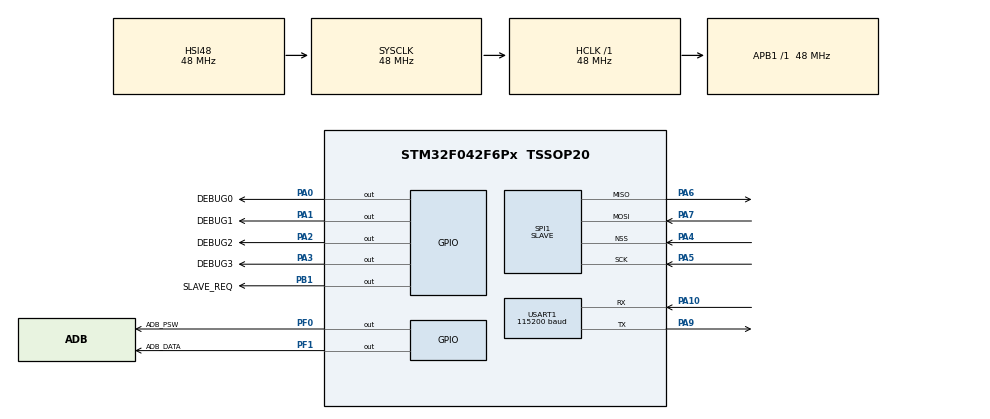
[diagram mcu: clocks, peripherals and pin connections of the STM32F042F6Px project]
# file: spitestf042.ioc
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Mcu.Family=STM32F0
Mcu.Name=STM32F042F6Px
Mcu.Package=TSSOP20
NVIC.SPI1_IRQn=true\:0\:0\:false\:false\:true\:true
PA0.GPIO_Label=DEBUG0
PA0.Signal=GPIO_Output
PA1.GPIO_Label=DEBUG1
PA1.Signal=GPIO_Output
PA10.Mode=Asynchronous
PA10.Signal=USART1_RX
PA13.Mode=Serial_Wire
PA13.Signal=SYS_SWDIO
PA14.Mode=Serial_Wire
PA14.Signal=SYS_SWCLK
PA2.GPIO_Label=DEBUG2
PA2.Signal=GPIO_Output
PA3.GPIO_Label=DEBUG3
PA3.Signal=GPIO_Output
PA4.Mode=NSS_Signal_Hard_Input
PA4.Signal=SPI1_NSS
PA5.Mode=Full_Duplex_Slave
PA5.Signal=SPI1_SCK
PA6.Mode=Full_Duplex_Slave
PA6.Signal=SPI1_MISO
PA7.Mode=Full_Duplex_Slave
PA7.Signal=SPI1_MOSI
PA9.Mode=Asynchronous
PA9.Signal=USART1_TX
PB1.GPIO_Label=SLAVE_REQ
PB1.Signal=GPIO_Output
PF0-OSC_IN.GPIO_Label=ADB_PSW
PF0-OSC_IN.GPIO_ModeDefaultOutputPP=GPIO_MODE_OUTPUT_OD
PF0-OSC_IN.PinState=GPIO_PIN_SET
PF0-OSC_IN.Signal=GPIO_Output
PF1-OSC_OUT.GPIO_Label=ADB_DATA
PF1-OSC_OUT.GPIO_ModeDefaultOutputPP=GPIO_MODE_OUTPUT_OD
PF1-OSC_OUT.PinState=GPIO_PIN_SET
PF1-OSC_OUT.Signal=GPIO_Output
ProjectManager.HeapSize=0x200
ProjectManager.StackSize=0x400
ProjectManager.TargetToolchain=MDK-ARM V5
RCC.AHBFreq_Value=48000000
RCC.APB1Freq_Value=48000000
RCC.APB1TimFreq_Value=48000000
RCC.HCLKFreq_Value=48000000
RCC.SYSCLKFreq_VALUE=48000000
RCC.SYSCLKSource=RCC_SYSCLKSOURCE_HSI48
SPI1.DataSize=SPI_DATASIZE_8BIT
SPI1.Direction=SPI_DIRECTION_2LINES
SPI1.Mode=SPI_MODE_SLAVE
SPI1.VirtualNSS=VM_NSSHARD
SPI1.VirtualType=VM_SLAVE
TIM2.Period=4294967295
TIM2.Prescaler=47
USART1.BaudRate=115200
USART1.VirtualMode=VM_ASYNC
VP_TIM2_VS_ClockSourceINT.Mode=Internal
board=custom

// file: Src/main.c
/**
  ******************************************************************************
  * @file           : main.c
  * @brief          : Main program body
  ******************************************************************************
  ** This notice applies to any and all portions of this file
  * that are not between comment pairs USER CODE BEGIN and
  * USER CODE END. Other portions of this file, whether
  * inserted by the user or by software development tools
  * are owned by their respective copyright owners.
  *
  * COPYRIGHT(c) 2021 STMicroelectronics
  *
  * Redistribution and use in source and binary forms, with or without modification,
  * are permitted provided that the following conditions are met:
  *   1. Redistributions of source code must retain the above copyright notice,
  *      this list of conditions and the following disclaimer.
  *   2. Redistributions in binary form must reproduce the above copyright notice,
  *      this list of conditions and the following disclaimer in the documentation
  *      and/or other materials provided with the distribution.
  *   3. Neither the name of STMicroelectronics nor the names of its contributors
  *      may be used to endorse or promote products derived from this software
  *      without specific prior written permission.
  *
  * THIS SOFTWARE IS PROVIDED BY THE COPYRIGHT HOLDERS AND CONTRIBUTORS "AS IS"
  * AND ANY EXPRESS OR IMPLIED WARRANTIES, INCLUDING, BUT NOT LIMITED TO, THE
  * IMPLIED WARRANTIES OF MERCHANTABILITY AND FITNESS FOR A PARTICULAR PURPOSE ARE
  * DISCLAIMED. IN NO EVENT SHALL THE COPYRIGHT HOLDER OR CONTRIBUTORS BE LIABLE
  * FOR ANY DIRECT, INDIRECT, INCIDENTAL, SPECIAL, EXEMPLARY, OR CONSEQUENTIAL
  * DAMAGES (INCLUDING, BUT NOT LIMITED TO, PROCUREMENT OF SUBSTITUTE GOODS OR
  * SERVICES; LOSS OF USE, DATA, OR PROFITS; OR BUSINESS INTERRUPTION) HOWEVER
  * CAUSED AND ON ANY THEORY OF LIABILITY, WHETHER IN CONTRACT, STRICT LIABILITY,
  * OR TORT (INCLUDING NEGLIGENCE OR OTHERWISE) ARISING IN ANY WAY OUT OF THE USE
  * OF THIS SOFTWARE, EVEN IF ADVISED OF THE POSSIBILITY OF SUCH DAMAGE.
  *
  ******************************************************************************
  */
#include "main.h"
#include "stm32f0xx_hal.h"

/* USER CODE BEGIN Includes */
#include <string.h>
#include <stdlib.h>
#include "delay_us.h"
#include "shared.h"
#include "helpers.h"
#include "adb.h"

/* USER CODE END Includes */

SPI_HandleTypeDef hspi1;

TIM_HandleTypeDef htim2;

UART_HandleTypeDef huart1;

/* USER CODE BEGIN PV */
/* Private variables ---------------------------------------------------------*/
uint8_t spi_transmit_buf[SPI_BUF_SIZE];
uint8_t backup_spi1_recv_buf[SPI_BUF_SIZE];
uint8_t spi_recv_buf[SPI_BUF_SIZE];
/* USER CODE END PV */

void SystemClock_Config(void);
static void MX_GPIO_Init(void);
static void MX_USART1_UART_Init(void);
static void MX_SPI1_Init(void);
static void MX_TIM2_Init(void);

/* USER CODE BEGIN PFP */
/* Private function prototypes -----------------------------------------------*/

/* USER CODE END PFP */

/* USER CODE BEGIN 0 */
int fputc(int ch, FILE *f)
{
    HAL_UART_Transmit(&huart1, (unsigned char *)&ch, 1, 100);
    return ch;
}

int16_t byte_to_int16_t(uint8_t lsb, uint8_t msb)
{
  return (int16_t)((msb << 8) | lsb);
}

/*
  This is called when a new SPI packet is received
  This is part of an ISR, so keep it short!
*/
void HAL_SPI_TxRxCpltCallback(SPI_HandleTypeDef *hspi)
{
  // memcpy(backup_spi1_recv_buf, spi_recv_buf, SPI_BUF_SIZE);
  // HAL_SPI_TransmitReceive_IT(&hspi1, spi_transmit_buf, spi_recv_buf, SPI_BUF_SIZE);

  // if(backup_spi1_recv_buf[0] != 0xde)
  // {
  //   printf("WRONG");
  //   while(1);
  // }

  // if(backup_spi1_recv_buf[SPI_BUF_INDEX_MSG_TYPE] == SPI_MOSI_MSG_KB_EVENT)
  //   ps2kb_buf_add(&my_ps2kb_buf, backup_spi1_recv_buf[6], backup_spi1_recv_buf[8]);

  // if(backup_spi1_recv_buf[SPI_BUF_INDEX_MSG_TYPE] == SPI_MOSI_MSG_MOUSE_EVENT)
  // {
  //   mouse_event this_event;
  //   this_event.movement_x = byte_to_int16_t(backup_spi1_recv_buf[4], backup_spi1_recv_buf[5]);
  //   this_event.movement_y = -1 * byte_to_int16_t(backup_spi1_recv_buf[6], backup_spi1_recv_buf[7]);
  //   this_event.scroll_vertical = -1 * byte_to_int16_t(backup_spi1_recv_buf[8], backup_spi1_recv_buf[9]);
  //   this_event.button_left = backup_spi1_recv_buf[13];
  //   this_event.button_right = backup_spi1_recv_buf[14];
  //   this_event.button_middle = backup_spi1_recv_buf[15];
  //   this_event.button_side = backup_spi1_recv_buf[16];
  //   this_event.button_extra = backup_spi1_recv_buf[17];
  //   ps2mouse_buf_add(&my_ps2mouse_buf, &this_event);
  // }

  // if(backup_spi1_recv_buf[SPI_BUF_INDEX_MSG_TYPE] == SPI_MOSI_MSG_REQ_ACK)
  //   HAL_GPIO_WritePin(SLAVE_REQ_GPIO_Port, SLAVE_REQ_Pin, GPIO_PIN_RESET);
}

/* USER CODE END 0 */

int main(void)
{

  /* MCU Configuration----------------------------------------------------------*/

  /* Reset of all peripherals, Initializes the Flash interface and the Systick. */
  HAL_Init();

  /* Configure the system clock */
  SystemClock_Config();

  /* Initialize all configured peripherals */
  MX_GPIO_Init();
  MX_USART1_UART_Init();
  MX_SPI1_Init();
  MX_TIM2_Init();
  /* USER CODE BEGIN 2 */
	delay_us_init(&htim2);
  memset(spi_transmit_buf, 0, SPI_BUF_SIZE);
	// HAL_SPI_TransmitReceive_IT(&hspi1, spi_transmit_buf, spi_recv_buf, SPI_BUF_SIZE);

  adb_init(ADB_DATA_GPIO_Port, ADB_DATA_Pin, ADB_PSW_GPIO_Port, ADB_PSW_Pin);

  printf("hello world\n");
  uint8_t adb_data, adb_status;

  /* USER CODE END 2 */

  /* Infinite loop */
  while (1)
  {

  /* USER CODE BEGIN 3 */

    adb_status = adb_recv_cmd(&adb_data, 0);

    if(adb_status == ADB_LINE_STATUS_RESET)
      adb_reset();
    else if(adb_status != ADB_OK)
      continue;

    parse_adb_cmd(adb_data);
    // write_test();
    // HAL_Delay(50);

  }
  /* USER CODE END 3 */

}

void SystemClock_Config(void)
{

  RCC_OscInitTypeDef RCC_OscInitStruct;
  RCC_ClkInitTypeDef RCC_ClkInitStruct;
  RCC_PeriphCLKInitTypeDef PeriphClkInit;

    /**Initializes the CPU, AHB and APB busses clocks
    */
  RCC_OscInitStruct.OscillatorType = RCC_OSCILLATORTYPE_HSI48;
  RCC_OscInitStruct.HSI48State = RCC_HSI48_ON;
  RCC_OscInitStruct.PLL.PLLState = RCC_PLL_NONE;
  if (HAL_RCC_OscConfig(&RCC_OscInitStruct) != HAL_OK)
  {
    _Error_Handler(__FILE__, __LINE__);
  }

    /**Initializes the CPU, AHB and APB busses clocks
    */
  RCC_ClkInitStruct.ClockType = RCC_CLOCKTYPE_HCLK|RCC_CLOCKTYPE_SYSCLK
                              |RCC_CLOCKTYPE_PCLK1;
  RCC_ClkInitStruct.SYSCLKSource = RCC_SYSCLKSOURCE_HSI48;
  RCC_ClkInitStruct.AHBCLKDivider = RCC_SYSCLK_DIV1;
  RCC_ClkInitStruct.APB1CLKDivider = RCC_HCLK_DIV1;

  if (HAL_RCC_ClockConfig(&RCC_ClkInitStruct, FLASH_LATENCY_1) != HAL_OK)
  {
    _Error_Handler(__FILE__, __LINE__);
  }

  PeriphClkInit.PeriphClockSelection = RCC_PERIPHCLK_USART1;
  PeriphClkInit.Usart1ClockSelection = RCC_USART1CLKSOURCE_PCLK1;
  if (HAL_RCCEx_PeriphCLKConfig(&PeriphClkInit) != HAL_OK)
  {
    _Error_Handler(__FILE__, __LINE__);
  }

    /**Configure the Systick interrupt time
    */
  HAL_SYSTICK_Config(HAL_RCC_GetHCLKFreq()/1000);

    /**Configure the Systick
    */
  HAL_SYSTICK_CLKSourceConfig(SYSTICK_CLKSOURCE_HCLK);

  /* SysTick_IRQn interrupt configuration */
  HAL_NVIC_SetPriority(SysTick_IRQn, 0, 0);
}

/* SPI1 init function */
static void MX_SPI1_Init(void)
{

  /* SPI1 parameter configuration*/
  hspi1.Instance = SPI1;
  hspi1.Init.Mode = SPI_MODE_SLAVE;
  hspi1.Init.Direction = SPI_DIRECTION_2LINES;
  hspi1.Init.DataSize = SPI_DATASIZE_8BIT;
  hspi1.Init.CLKPolarity = SPI_POLARITY_LOW;
  hspi1.Init.CLKPhase = SPI_PHASE_1EDGE;
  hspi1.Init.NSS = SPI_NSS_HARD_INPUT;
  hspi1.Init.FirstBit = SPI_FIRSTBIT_MSB;
  hspi1.Init.TIMode = SPI_TIMODE_DISABLE;
  hspi1.Init.CRCCalculation = SPI_CRCCALCULATION_DISABLE;
  hspi1.Init.CRCPolynomial = 7;
  hspi1.Init.CRCLength = SPI_CRC_LENGTH_DATASIZE;
  hspi1.Init.NSSPMode = SPI_NSS_PULSE_DISABLE;
  if (HAL_SPI_Init(&hspi1) != HAL_OK)
  {
    _Error_Handler(__FILE__, __LINE__);
  }

}

/* TIM2 init function */
static void MX_TIM2_Init(void)
{

  TIM_ClockConfigTypeDef sClockSourceConfig;
  TIM_MasterConfigTypeDef sMasterConfig;

  htim2.Instance = TIM2;
  htim2.Init.Prescaler = 47;
  htim2.Init.CounterMode = TIM_COUNTERMODE_UP;
  htim2.Init.Period = 4294967295;
  htim2.Init.ClockDivision = TIM_CLOCKDIVISION_DIV1;
  htim2.Init.AutoReloadPreload = TIM_AUTORELOAD_PRELOAD_DISABLE;
  if (HAL_TIM_Base_Init(&htim2) != HAL_OK)
  {
    _Error_Handler(__FILE__, __LINE__);
  }

  sClockSourceConfig.ClockSource = TIM_CLOCKSOURCE_INTERNAL;
  if (HAL_TIM_ConfigClockSource(&htim2, &sClockSourceConfig) != HAL_OK)
  {
    _Error_Handler(__FILE__, __LINE__);
  }

  sMasterConfig.MasterOutputTrigger = TIM_TRGO_RESET;
  sMasterConfig.MasterSlaveMode = TIM_MASTERSLAVEMODE_DISABLE;
  if (HAL_TIMEx_MasterConfigSynchronization(&htim2, &sMasterConfig) != HAL_OK)
  {
    _Error_Handler(__FILE__, __LINE__);
  }

}

/* USART1 init function */
static void MX_USART1_UART_Init(void)
{

  huart1.Instance = USART1;
  huart1.Init.BaudRate = 115200;
  huart1.Init.WordLength = UART_WORDLENGTH_8B;
  huart1.Init.StopBits = UART_STOPBITS_1;
  huart1.Init.Parity = UART_PARITY_NONE;
  huart1.Init.Mode = UART_MODE_TX_RX;
  huart1.Init.HwFlowCtl = UART_HWCONTROL_NONE;
  huart1.Init.OverSampling = UART_OVERSAMPLING_16;
  huart1.Init.OneBitSampling = UART_ONE_BIT_SAMPLE_DISABLE;
  huart1.AdvancedInit.AdvFeatureInit = UART_ADVFEATURE_NO_INIT;
  if (HAL_UART_Init(&huart1) != HAL_OK)
  {
    _Error_Handler(__FILE__, __LINE__);
  }

}

/** Configure pins as
        * Analog
        * Input
        * Output
        * EVENT_OUT
        * EXTI
*/
static void MX_GPIO_Init(void)
{

  GPIO_InitTypeDef GPIO_InitStruct;

  /* GPIO Ports Clock Enable */
  __HAL_RCC_GPIOF_CLK_ENABLE();
  __HAL_RCC_GPIOA_CLK_ENABLE();
  __HAL_RCC_GPIOB_CLK_ENABLE();

  /*Configure GPIO pin Output Level */
  HAL_GPIO_WritePin(GPIOF, ADB_PSW_Pin|ADB_DATA_Pin, GPIO_PIN_SET);

  /*Configure GPIO pin Output Level */
  HAL_GPIO_WritePin(GPIOA, DEBUG0_Pin|DEBUG1_Pin|DEBUG2_Pin|DEBUG3_Pin, GPIO_PIN_RESET);

  /*Configure GPIO pin Output Level */
  HAL_GPIO_WritePin(SLAVE_REQ_GPIO_Port, SLAVE_REQ_Pin, GPIO_PIN_RESET);

  /*Configure GPIO pins : ADB_PSW_Pin ADB_DATA_Pin */
  GPIO_InitStruct.Pin = ADB_PSW_Pin|ADB_DATA_Pin;
  GPIO_InitStruct.Mode = GPIO_MODE_OUTPUT_OD;
  GPIO_InitStruct.Pull = GPIO_NOPULL;
  GPIO_InitStruct.Speed = GPIO_SPEED_FREQ_LOW;
  HAL_GPIO_Init(GPIOF, &GPIO_InitStruct);

  /*Configure GPIO pins : DEBUG0_Pin DEBUG1_Pin DEBUG2_Pin DEBUG3_Pin */
  GPIO_InitStruct.Pin = DEBUG0_Pin|DEBUG1_Pin|DEBUG2_Pin|DEBUG3_Pin;
  GPIO_InitStruct.Mode = GPIO_MODE_OUTPUT_PP;
  GPIO_InitStruct.Pull = GPIO_NOPULL;
  GPIO_InitStruct.Speed = GPIO_SPEED_FREQ_LOW;
  HAL_GPIO_Init(GPIOA, &GPIO_InitStruct);

  /*Configure GPIO pin : SLAVE_REQ_Pin */
  GPIO_InitStruct.Pin = SLAVE_REQ_Pin;
  GPIO_InitStruct.Mode = GPIO_MODE_OUTPUT_PP;
  GPIO_InitStruct.Pull = GPIO_NOPULL;
  GPIO_InitStruct.Speed = GPIO_SPEED_FREQ_LOW;
  HAL_GPIO_Init(SLAVE_REQ_GPIO_Port, &GPIO_InitStruct);

}

void _Error_Handler(char *file, int line)
{
  while(1)
  {
  }
}

/************************ (C) COPYRIGHT STMicroelectronics *****END OF FILE****/
